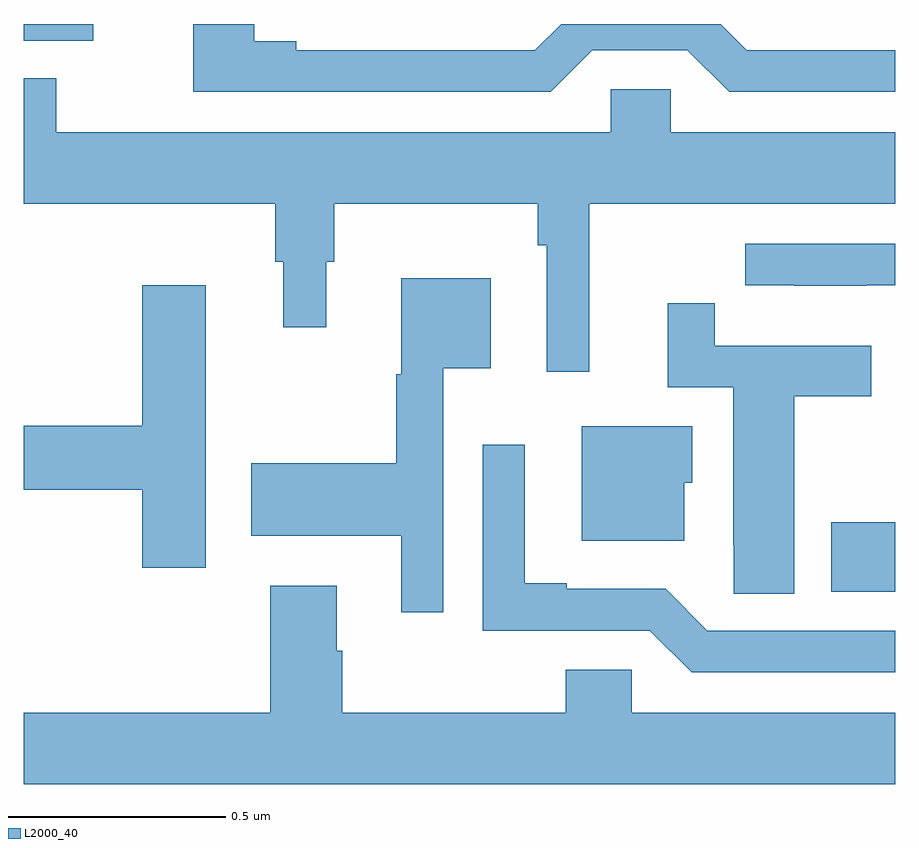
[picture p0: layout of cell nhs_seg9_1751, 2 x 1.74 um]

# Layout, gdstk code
import gdstk
lib = gdstk.Library(unit=1e-6, precision=1e-09)
def R(c, l, rs):  # rectangles x0, y0, x1, y1
    for r in rs: c.add(gdstk.rectangle(r[:2], r[2:], *l))
def P(c, l, *ps):  # polygons
    for p in ps: c.add(gdstk.Polygon(p, *l))
L2000_40 = (2000, 40)

nhs_seg9_1751 = lib.new_cell('nhs_seg9_1751')
R(nhs_seg9_1751, L2000_40, [(133.853,1194.197,134,1194.357), (132,1195.461,132.159,1195.5)])
P(nhs_seg9_1751, L2000_40, [(133.305,1195.44),(133.523,1195.44),(133.619,1195.344),(134,1195.344),(134,1195.44),(133.659,1195.44),(133.599,1195.5),(133.233,1195.5),(133.173,1195.44),(132.625,1195.44),(132.625,1195.46),(132.529,1195.46),(132.529,1195.5),(132.389,1195.5),(132.389,1195.344),(133.209,1195.344)],
  [(133.298,1195.088),(134,1195.088),(134,1195.252),(133.485,1195.252),(133.485,1195.35),(133.347,1195.35),(133.347,1195.252),(132.075,1195.252),(132.075,1195.376),(132,1195.376),(132,1195.088),(132.577,1195.088),(132.577,1194.954),(132.596,1194.954),(132.596,1194.804),(132.694,1194.804),(132.694,1194.954),(132.713,1194.954),(132.713,1195.088),(133.18,1195.088),(133.18,1194.992),(133.2,1194.992),(133.2,1194.702),(133.298,1194.702)],
  [(133.934,1194.9),(134,1194.9),(134,1194.996),(133.656,1194.996),(133.656,1194.9),(133.768,1194.9),(133.768,1194.899),(133.934,1194.899)],
  [(132.963,1194.71),(133.072,1194.71),(133.072,1194.916),(132.866,1194.916),(132.866,1194.696),(132.855,1194.696),(132.855,1194.492),(132.522,1194.492),(132.522,1194.326),(132.866,1194.326),(132.866,1194.15),(132.963,1194.15)],
  [(132.418,1194.901),(132.272,1194.901),(132.272,1194.578),(132,1194.578),(132,1194.431),(132.272,1194.431),(132.272,1194.252),(132.418,1194.252)],
  [(133.768,1194.646),(133.945,1194.646),(133.945,1194.762),(133.586,1194.762),(133.586,1194.859),(133.478,1194.859),(133.478,1194.666),(133.628,1194.666),(133.628,1194.304),(133.629,1194.304),(133.629,1194.193),(133.768,1194.193)],
  [(133.516,1194.447),(133.534,1194.447),(133.534,1194.577),(133.28,1194.577),(133.28,1194.314),(133.516,1194.314)],
  [(134,1194.108),(133.569,1194.108),(133.473,1194.204),(133.246,1194.204),(133.246,1194.217),(133.15,1194.217),(133.15,1194.535),(133.053,1194.535),(133.053,1194.108),(133.437,1194.108),(133.533,1194.012),(134,1194.012)],
  [(134,1193.92),(133.395,1193.92),(133.395,1194.018),(133.244,1194.018),(133.244,1193.92),(132.731,1193.92),(132.731,1194.062),(132.718,1194.062),(132.718,1194.211),(132.566,1194.211),(132.566,1193.92),(132,1193.92),(132,1193.756),(134,1193.756)])

lib.write_gds('nhs_seg9_1751.gds')
